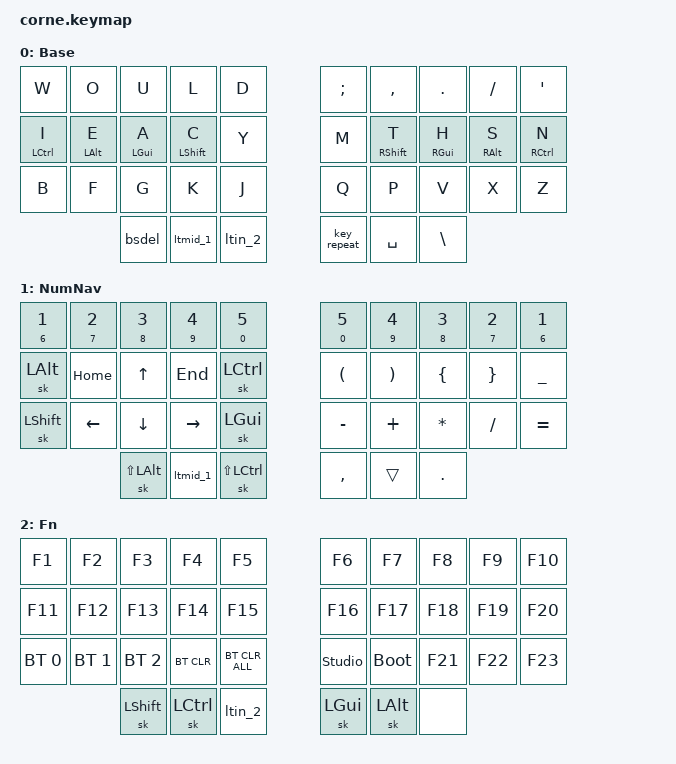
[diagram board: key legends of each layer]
#include <behaviors.dtsi>
#include <dt-bindings/zmk/bt.h>
#include <dt-bindings/zmk/keys.h>
#include <dt-bindings/zmk/pointing.h>

#define DEF     0
#define NUMNAV  1
#define FN      2
#define COMBO_TIMEOUT_MS 35
#define COMBO_RPI_MS     80

&lt {
    tapping-term-ms = <280>;
    quick-tap-ms = <175>;
    require-prior-idle-ms = <150>;
    flavor = "balanced";
};

/ {
    behaviors {
        hm: homerow_mods {
            compatible = "zmk,behavior-hold-tap";
            label = "HOMEROW_MODS";
            #binding-cells = <2>;
            flavor = "balanced";
            tapping-term-ms = <280>;
            quick-tap-ms = <175>;
            require-prior-idle-ms = <150>;
            bindings = <&kp>, <&kp>;
        };

        bsdel: backspace_delete {
            compatible = "zmk,behavior-mod-morph";
            label = "BACKSPACE_DELETE";
            bindings = <&kp BSPC>, <&kp DEL>;

            #binding-cells = <0>;
            mods = <(MOD_LSFT|MOD_RSFT)>;
        };

        ltmid_1: LeftThumbMid_1 {
            compatible = "zmk,behavior-tap-dance";
            label = "LEFTTHUMBMID_1";
            #binding-cells = <0>;
            bindings = <&lt 1 R>, <&tog 1>;
        };

        ltin_2: ltin_2 {
            compatible = "zmk,behavior-tap-dance";
            label = "LTIN_2";
            #binding-cells = <0>;
            bindings = <&mo 2>, <&tog 2>;
        };
    };

    combos {
        compatible = "zmk,combos";

        ret_l {
            timeout-ms = <COMBO_TIMEOUT_MS>;
            require-prior-idle-ms = <COMBO_RPI_MS>;
            layers = <0>;
            bindings = <&kp ENTER>;
            key-positions = <12 13>;
        };

        ret_r {
            timeout-ms = <COMBO_TIMEOUT_MS>;
            require-prior-idle-ms = <COMBO_RPI_MS>;
            layers = <0>;
            bindings = <&kp ENTER>;
            key-positions = <16 17>;
        };

        tab_l {
            timeout-ms = <COMBO_TIMEOUT_MS>;
            require-prior-idle-ms = <COMBO_RPI_MS>;
            layers = <0>;
            bindings = <&kp TAB>;
            key-positions = <11 12>;
        };

        tab_r {
            timeout-ms = <COMBO_TIMEOUT_MS>;
            require-prior-idle-ms = <COMBO_RPI_MS>;
            layers = <0>;
            bindings = <&kp TAB>;
            key-positions = <17 18>;
        };

        btab_l {
            timeout-ms = <COMBO_TIMEOUT_MS>;
            require-prior-idle-ms = <COMBO_RPI_MS>;
            layers = <0>;
            bindings = <&kp LS(TAB)>;
            key-positions = <21 22>;
        };

        btab_r {
            timeout-ms = <COMBO_TIMEOUT_MS>;
            require-prior-idle-ms = <COMBO_RPI_MS>;
            layers = <0>;
            bindings = <&kp LS(TAB)>;
            key-positions = <25 26>;
        };

        esc_l {
            timeout-ms = <COMBO_TIMEOUT_MS>;
            require-prior-idle-ms = <COMBO_RPI_MS>;
            layers = <0>;
            bindings = <&kp ESC>;
            key-positions = <10 11>;
        };

        esc_r {
            timeout-ms = <COMBO_TIMEOUT_MS>;
            require-prior-idle-ms = <COMBO_RPI_MS>;
            layers = <0>;
            bindings = <&kp ESC>;
            key-positions = <18 19>;
        };
    };

    keymap {
        compatible = "zmk,keymap";

        DEF {
            display-name = "Base";
            bindings = <
&kp W        &kp O        &kp U       &kp L        &kp D                             &kp SEMI    &kp COMMA    &kp DOT      &kp FSLH     &kp SQT
&hm LCTRL I  &hm LALT E   &hm LGUI A  &hm LSHFT C  &kp Y                             &kp M       &hm RSHFT T  &hm RGUI H   &hm RALT S   &hm RCTRL N
&kp B        &kp F        &kp G       &kp K        &kp J                             &kp Q       &kp P        &kp V        &kp X        &kp Z
                                      &bsdel       &ltmid_1  &ltin_2    &key_repeat  &kp SPACE   &kp BSLH
            >;
        };

        NUMNAV {
            display-name = "NumNav";
            bindings = <
&hm N6 N1  &hm N7 N2 &hm N8 N3 &hm N9 N4    &hm N0 N5                               &hm N0 N5    &hm N9 N4 &hm N8 N3 &hm N7 N2  &hm N6 N1
&sk LALT   &kp HOME  &kp UP    &kp END      &sk LCTRL                               &kp LPAR     &kp RPAR  &kp LBRC  &kp RBRC   &kp UNDER
&sk LSHFT  &kp LEFT  &kp DOWN  &kp RIGHT    &sk LGUI                                &kp MINUS    &kp PLUS  &kp STAR  &kp FSLH   &kp EQUAL
                               &sk LS(LALT) &ltmid_1    &sk LS(LCTRL)     &kp COMMA   &trans       &kp DOT
            >;
        };

        FN {
            display-name = "Fn";
            bindings = <
&kp F1          &kp F2          &kp F3        &kp F4        &kp F5                       &kp F6          &kp F7        &kp F8    &kp F9     &kp F10
&kp F11         &kp F12         &kp F13       &kp F14       &kp F15                      &kp F16         &kp F17       &kp F18   &kp F19    &kp F20
&bt BT_SEL 0    &bt BT_SEL 1    &bt BT_SEL 2  &bt BT_CLR    &bt BT_CLR_ALL               &studio_unlock  &bootloader   &kp F21   &kp F22    &kp F23 
                                              &sk LSHFT     &sk LCTRL &ltin_2  &sk LGUI  &sk LALT        &none
            >;
        };
    };
};
